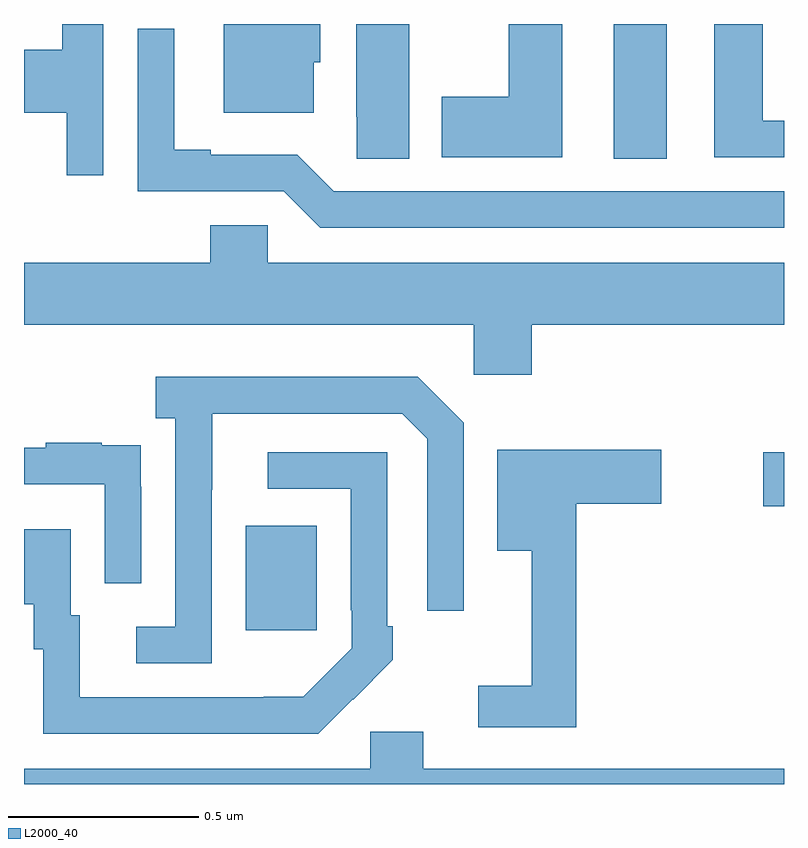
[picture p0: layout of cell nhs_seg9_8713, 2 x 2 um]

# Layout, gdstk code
import gdstk
lib = gdstk.Library(unit=1e-6, precision=1e-09)
def R(c, l, rs):  # rectangles x0, y0, x1, y1
    for r in rs: c.add(gdstk.rectangle(r[:2], r[2:], *l))
def P(c, l, *ps):  # polygons
    for p in ps: c.add(gdstk.Polygon(p, *l))
L2000_40 = (2000, 40)

nhs_seg9_8713 = lib.new_cell('nhs_seg9_8713')
R(nhs_seg9_8713, L2000_40, [(220.583,1240.905,220.771,1241.179), (221.946,1241.231,222,1241.373), (221.552,1242.145,221.692,1242.5)])
P(nhs_seg9_8713, L2000_40, [(220.762,1242.399),(220.78,1242.399),(220.78,1242.5),(220.526,1242.5),(220.526,1242.266),(220.762,1242.266)],
  [(221.416,1242.5),(221.276,1242.5),(221.276,1242.309),(221.099,1242.309),(221.099,1242.149),(221.416,1242.149)],
  [(221.014,1242.5),(220.874,1242.5),(220.874,1242.256),(220.875,1242.256),(220.875,1242.145),(221.014,1242.145)],
  [(222,1242.246),(221.944,1242.246),(221.944,1242.5),(221.816,1242.5),(221.816,1242.15),(222,1242.15)],
  [(220.209,1242.5),(220.101,1242.5),(220.101,1242.432),(220,1242.432),(220,1242.266),(220.112,1242.266),(220.112,1242.102),(220.209,1242.102)],
  [(222,1242.06),(220.815,1242.06),(220.719,1242.156),(220.492,1242.156),(220.492,1242.169),(220.396,1242.169),(220.396,1242.487),(220.299,1242.487),(220.299,1242.06),(220.683,1242.06),(220.779,1241.964),(222,1241.964)],
  [(221.336,1241.708),(222,1241.708),(222,1241.872),(220.641,1241.872),(220.641,1241.97),(220.49,1241.97),(220.49,1241.872),(220,1241.872),(220,1241.708),(221.184,1241.708),(221.184,1241.577),(221.336,1241.577)],
  [(220.494,1241.275),(220.495,1241.275),(220.495,1241.475),(220.995,1241.475),(221.061,1241.409),(221.061,1240.956),(221.157,1240.956),(221.157,1241.451),(221.036,1241.572),(220.347,1241.572),(220.347,1241.462),(220.398,1241.462),(220.398,1240.914),(220.296,1240.914),(220.296,1240.818),(220.494,1240.818)],
  [(220.308,1241.282),(220.307,1241.282),(220.307,1241.391),(220.205,1241.391),(220.205,1241.398),(220.057,1241.398),(220.057,1241.385),(220,1241.385),(220,1241.289),(220.212,1241.289),(220.212,1241.028),(220.308,1241.028)],
  [(221.453,1241.237),(221.677,1241.237),(221.677,1241.379),(221.246,1241.379),(221.246,1241.114),(221.336,1241.114),(221.336,1240.759),(221.196,1240.759),(221.196,1240.65),(221.453,1240.65)],
  [(220.865,1240.723),(220.866,1240.722),(220.971,1240.827),(220.971,1240.915),(220.956,1240.915),(220.956,1241.373),(220.641,1241.373),(220.641,1241.277),(220.86,1241.277),(220.86,1240.957),(220.863,1240.957),(220.863,1240.857),(220.735,1240.729),(220.631,1240.729),(220.631,1240.728),(220.147,1240.728),(220.147,1240.944),(220.123,1240.944),(220.123,1241.17),(220,1241.17),(220,1240.973),(220.025,1240.973),(220.025,1240.854),(220.05,1240.854),(220.05,1240.632),(220.774,1240.632)],
  [(222,1240.54),(221.05,1240.54),(221.05,1240.638),(220.911,1240.638),(220.911,1240.54),(220,1240.54),(220,1240.5),(222,1240.5)])

lib.write_gds('nhs_seg9_8713.gds')
